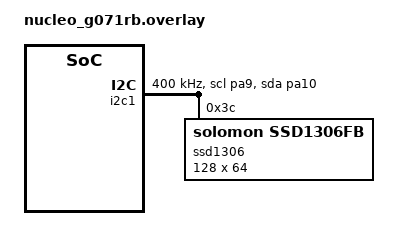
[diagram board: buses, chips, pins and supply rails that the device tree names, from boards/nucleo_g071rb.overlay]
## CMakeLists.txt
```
cmake_minimum_required(VERSION 3.20.0)
find_package(Zephyr REQUIRED HINTS $ENV{ZEPHYR_BASE})
project(rc_pad)

target_sources(app PRIVATE
    src/main.c
    src/display/display.c
)
```

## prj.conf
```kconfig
CONFIG_GPIO=y
CONFIG_SERIAL=y
CONFIG_CONSOLE=y
CONFIG_PRINTK=y

CONFIG_I2C=y
CONFIG_DISPLAY=y
CONFIG_SSD1306=y
CONFIG_MAIN_STACK_SIZE=2048
```

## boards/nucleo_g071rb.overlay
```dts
/ {
	chosen {
		zephyr,display = &ssd1306;
	};
};

&i2c1 {
	/* Use user wiring: PA9=SCL, PA10=SDA */
	pinctrl-0 = <&i2c1_scl_pa9 &i2c1_sda_pa10>;
	pinctrl-names = "default";
	status = "okay";
	clock-frequency = <I2C_BITRATE_FAST>;

	ssd1306: ssd1306@3c {
		compatible = "solomon,ssd1306fb";
		reg = <0x3c>;
		width = <128>;
		height = <64>;
		segment-offset = <0>;
		page-offset = <0>;
		display-offset = <0>;
		multiplex-ratio = <63>;
		segment-remap;
		com-invdir;
		prechargep = <0x22>;
	};
};
```

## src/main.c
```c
#include "display/display.h"
#include <zephyr/kernel.h>
#include <zephyr/sys/printk.h>

int main(void)
{
    display_init();

    while (1) {
        printk("RC pad alive\n");
        k_sleep(K_SECONDS(1));
    }

    return 0;
}
```
